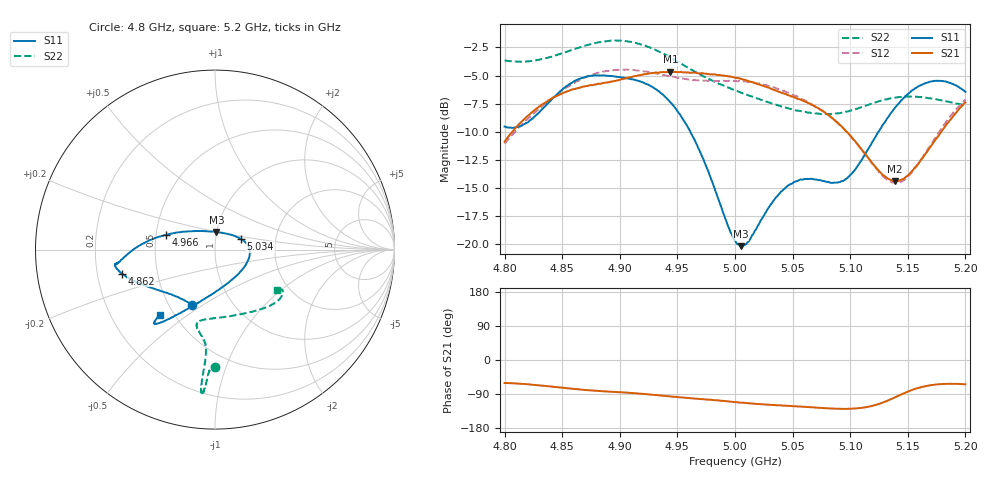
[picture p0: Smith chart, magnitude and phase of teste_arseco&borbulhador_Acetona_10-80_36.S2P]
! Network Analyzer HP8722D
! Hewlett-Packard
! Data name: Linha & Wilkinson
! Saver's name: Rodrigo Anjos
! Comments: Teste da utilização de aquisição
! continua pelo VNA HP8722D
! Time and date: 17/4/2025 14:39
!  Frequency  S11  S21  S12  S22
# HZ  S  MA R 50
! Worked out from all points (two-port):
!   401 points, 4.8 GHz to 5.2 GHz, reference 50 ohm
!   highest |S21| = -4.66 dB at 4.944 GHz (marker M1); lowest = -14.4 dB at 5.139 GHz (marker M2)
!   |S21| within 3 dB of the highest: 4.832 GHz to 5.068 GHz (236.5 MHz wide, 4.78 % of centre); 5.197486 GHz to end of sweep
!   lowest |S11| = -20.2 dB at 5.005 GHz (marker M3), VSWR 1.22, Z = 49.8 + j9.83 ohm
!   |S11| at or under -10 dB: 4.961 GHz to 5.125 GHz (163.3 MHz wide, 3.24 % of centre)
!   |S22| runs from -8.4 to -1.9 dB; largest |S21 - S12| = 0.88
!   S11 on the Smith chart (normalised r, x): 4.8 GHz: 0.65, -0.45; 4.862 GHz: 0.31, -0.12; 4.966 GHz: 0.57, +0.10; 5.034 GHz: 1.33, +0.16; 5.2 GHz: 0.42, -0.39
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4.8e9  0.3335 -113.1  0.2856 -60.8  0.2797 -174.9  0.6562 -90.0
4.819e9  0.3464 -133.0  0.3673 -63.9  0.3567 -173.4  0.6505 -91.5
4.862e9  0.5354 -165.5  0.4916 -76.8  0.5282 -176.6  0.7414 -93.8
4.867e9  0.5484 -167.3  0.5002 -78.2  0.543 -177.6  0.7564 -93.9
4.9e9  0.5536 -172.0  0.5379 -85.0  0.5945 175.7  0.8045 -95.3
4.934e9  0.4785 -177.9  0.5789 -93.6  0.573 171.9  0.7191 -95.6
4.944e9  0.4273 177.4  0.5849 -96.2  0.5568 172.0  0.6758 -95.4
4.966e9  0.2828 163.0  0.5772 -102.0  0.5362 173.9  0.582 -95.0
5e9  0.1039 102.8  0.5498 -110.9  0.5327 176.2  0.4837 -99.2
5.005e9  0.09804 85.7  0.5429 -112.6  0.529 176.3  0.4718 -100.4
5.012e9  0.1031 62.8  0.5299 -114.2  0.5265 176.1  0.4582 -101.8
5.034e9  0.1575 22.0  0.4848 -118.9  0.4982 174.9  0.4189 -103.6
5.05e9  0.1868 5.5  0.4534 -121.7  0.4618 174.2  0.3972 -99.9
5.067e9  0.1953 -12.6  0.4164 -124.8  0.4176 173.7  0.3809 -91.0
5.085e9  0.1874 -40.7  0.3618 -128.3  0.3609 173.7  0.3802 -77.6
5.097e9  0.1961 -65.3  0.3161 -128.9  0.3165 174.3  0.3888 -67.5
5.134e9  0.3739 -116.0  0.1943 -105.3  0.1908 -158.2  0.4442 -43.0
5.139e9  0.4053 -119.0  0.1906 -98.6  0.1873 -150.4  0.4486 -40.7
5.151e9  0.4693 -124.1  0.2046 -82.1  0.2021 -131.5  0.4537 -36.3
5.17e9  0.5285 -128.5  0.2724 -66.4  0.2774 -112.5  0.445 -31.9
5.184e9  0.5268 -129.9  0.3432 -63.0  0.3543 -107.2  0.4313 -30.9
5.2e9  0.4758 -130.3  0.4273 -64.2  0.4395 -106.3  0.4148 -33.1
